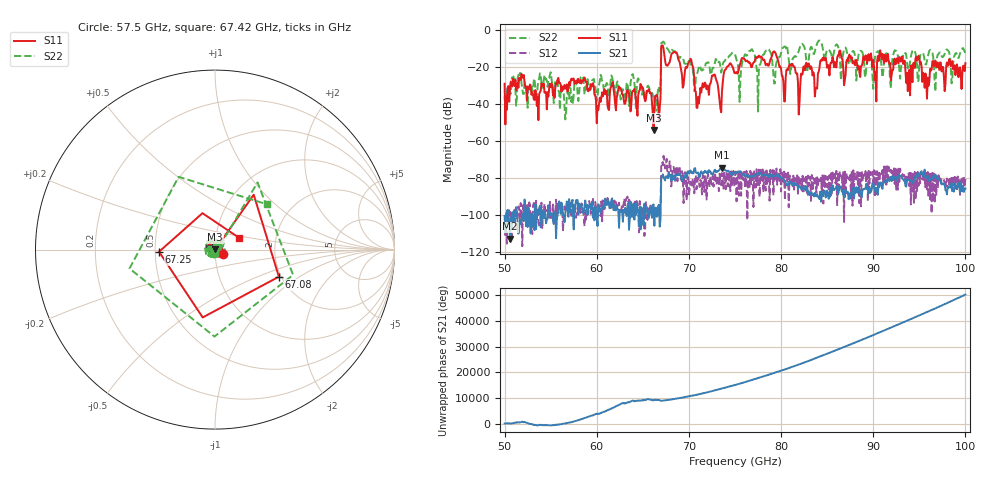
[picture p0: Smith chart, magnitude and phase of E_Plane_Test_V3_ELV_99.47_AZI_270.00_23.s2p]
! 11/26/2026 4:14:33 PM
! C:\ANRITSUVNA\TEMP\TEMP.S2P
! CHANNEL.1
! TR.MEASUREMENT
! RAW.DATA
# HZ S RI R 50.0
! FREQ.HZ  S11RE  S11IM  S21RE  S21IM  S12RE  S12IM  S22RE  S22IM
!; PortSelection: Port_12
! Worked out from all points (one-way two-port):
!   601 points, 50 GHz to 100 GHz, reference 50 ohm
!   highest |S21| = -74.37 dB at 73.58 GHz (marker M1); lowest = -113.0 dB at 50.58 GHz (marker M2)
!   lowest |S11| = -54.1 dB at 66.17 GHz (marker M3), VSWR 1.00, Z = 50.1 + j0.143 ohm
!   |S11| at or under -10 dB: start of sweep to 67 GHz; 67.24 GHz to end of sweep
!   |S22| runs from -48.3 to -5.6 dB; largest |S21 - S12| = 0.00044
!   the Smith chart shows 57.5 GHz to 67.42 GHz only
!   S11 on the Smith chart (normalised r, x): 57.5 GHz: 1.09, -0.05; 67.08 GHz: 1.94, -0.69; 67.25 GHz: 0.52, -0.01; 67.42 GHz: 1.29, +0.18
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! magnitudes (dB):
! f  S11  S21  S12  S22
! 50 GHz  -29.0  -100.6  -107.6  -35.8
! 50.58 GHz  -31.4  -113.0  -97.0  -33.0
! 57.5 GHz  -26.2  -107.9  -99.0  -34.6
! 58.42 GHz  -27.1  -96.9  -94.5  -24.7
! 60.17 GHz  -43.1  -94.3  -94.6  -30.4
! 66.17 GHz  -54.1  -94.4  -97.5  -34.0
! 66.67 GHz  -41.4  -95.0  -96.8  -31.6
! 67.08 GHz  -8.3  -79.4  -71.4  -6.8
! 67.25 GHz  -10.1  -79.5  -68.1  -6.2
! 67.42 GHz  -16.6  -81.4  -74.9  -8.3
! 70.17 GHz  -15.5  -75.9  -82.1  -18.5
! 70.67 GHz  -33.1  -74.6  -80.1  -33.0
! 73.58 GHz  -33.6  -74.4  -77.4  -21.2
! 75 GHz  -23.3  -77.0  -79.4  -13.0
! 79.25 GHz  -11.5  -79.2  -76.0  -28.9
! 80.25 GHz  -28.0  -80.5  -82.0  -9.3
! 83.42 GHz  -24.5  -88.4  -87.1  -10.8
! 91.67 GHz  -16.8  -80.9  -73.9  -15.2
! 93.75 GHz  -33.0  -81.3  -81.1  -21.4
! 94.83 GHz  -15.0  -77.2  -76.7  -28.0
! 95.83 GHz  -37.1  -79.6  -86.2  -16.5
! 100 GHz  -17.9  -85.8  -80.5  -12.6
